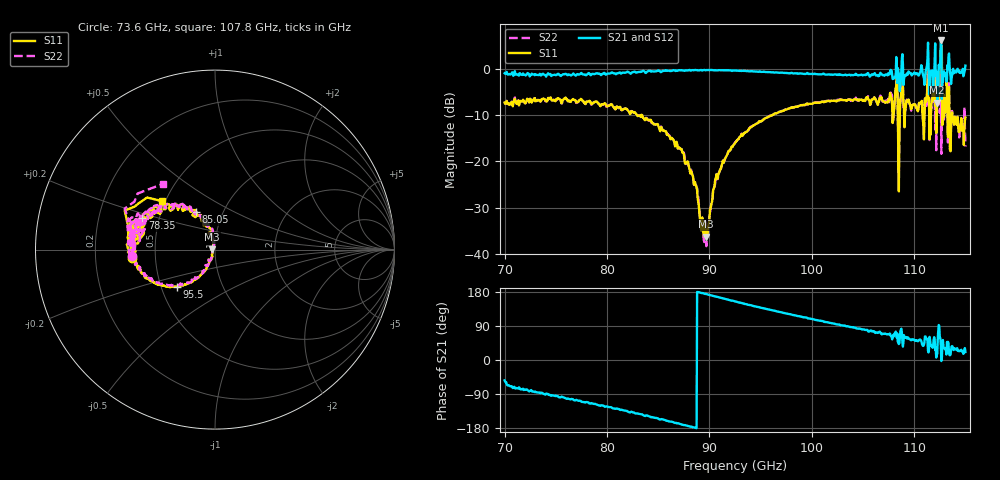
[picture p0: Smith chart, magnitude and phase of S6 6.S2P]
!  2-Port S-parameters saved by WinCal
! VAR ChuckHeaterState=Unknown
! VAR ChuckTemp=NaN
! VAR ChuckTempUnits=C
! VAR NAME=S6 6
! VAR FILENAME=S6 6.S2P
! VAR DATE=8/1/2024 12:40:50 PM
! VAR PHYS_PORTS=1,2
! VAR ObjTypeName=DATASET
! VAR IndexType=Frequency
# Hz S DB R 1
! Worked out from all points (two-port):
!   901 points, 70 GHz to 115 GHz, reference 1 ohm
!   highest |S21| = 6.13 dB at 112.6 GHz (marker M1); lowest = -7.3 dB at 112.2 GHz (marker M2)
!   |S21| within 3 dB of the highest: 108.8481 GHz to 108.8507 GHz (2.509 MHz wide, 0.00231 % of centre); 112.5639 GHz to 112.6616 GHz (97.74 MHz wide, 0.0868 % of centre)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
!   lowest |S11| = -36.3 dB at 89.65 GHz (marker M3), VSWR 1.03, Z = 0.97 + j0.00518 ohm
!   |S11| at or under -10 dB: 82.92857 GHz to 83.34366 GHz (415.1 MHz wide, 0.499 % of centre); 83.41 GHz to 96.16 GHz (12.75 GHz wide, 14.2 % of centre); 113.7 GHz to end of sweep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
!   |S22| runs from -38.4 to 1.6 dB; largest |S21 - S12| = 1.6
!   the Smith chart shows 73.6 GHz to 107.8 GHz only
!   S11 on the Smith chart (normalised r, x): 73.6 GHz: 0.37, -0.04; 78.35 GHz: 0.40, +0.18; 85.05 GHz: 0.75, +0.33; 95.5 GHz: 0.61, -0.27; 107.8 GHz: 0.48, +0.31
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7e10  -7.30 -153.4  -0.96 -53.8  -0.97 -67.1  -7.37 -154.1
7.36e10  -6.64 -174.5  -1.33 -86.4  -1.34 -86.3  -6.73 -175.9
7.75e10  -6.58 160.9  -0.90 -110.1  -0.92 -109.8  -6.45 159.2
7.835e10  -7.07 156.4  -1.23 -115.2  -1.26 -114.8  -7.13 154.4
8.5e10  -12.20 116.4  -0.32 -154.5  -0.34 -153.3  -12.50 116.6
8.505e10  -12.63 116.5  -0.38 -155.7  -0.38 -154.3  -12.72 117.5
8.735e10  -18.07 104.4  -0.35 -170.6  -0.36 -169.3  -18.00 103.9
8.965e10  -36.27 170.0  -0.33 174.3  -0.33 175.8  -36.26 162.2
9.055e10  -24.19 -111.0  -0.32 167.8  -0.32 169.3  -24.90 -111.4
9.25e10  -16.03 -118.8  -0.38 154.6  -0.37 156.3  -15.95 -120.2
9.55e10  -10.62 -135.6  -0.70 135.0  -0.69 136.5  -10.68 -137.3
1e11  -7.56 -161.2  -1.13 108.2  -1.14 109.9  -7.57 -162.8
1.075e11  -7.06 161.9  -1.20 67.6  -1.16 69.1  -7.09 157.2
1.0785e11  -7.96 137.5  -1.25 54.5  -1.23 53.4  -6.63 128.1
1.1115e11  -7.25 147.5  -0.18 57.6  -0.14 60.9  -7.95 138.2
1.116e11  -14.24 -141.5  -0.58 38.6  -0.55 64.5  -13.81 -157.5
1.1225e11  -5.35 -93.9  -7.33 16.4  -7.35 21.6  -3.20 -90.5
1.1245e11  -4.81 168.1  0.35 89.8  0.35 83.9  -5.22 158.1
1.126e11  4.02 148.6  6.13 39.9  6.11 83.1  -4.66 175.8
1.1285e11  -5.52 140.7  -1.52 36.5  -1.51 42.9  -5.54 134.5
1.1315e11  -2.82 135.6  -2.78 14.5  -2.78 27.2  -2.96 132.3
1.15e11  -10.54 107.0  0.69 21.1  0.68 21.0  -16.82 102.5
